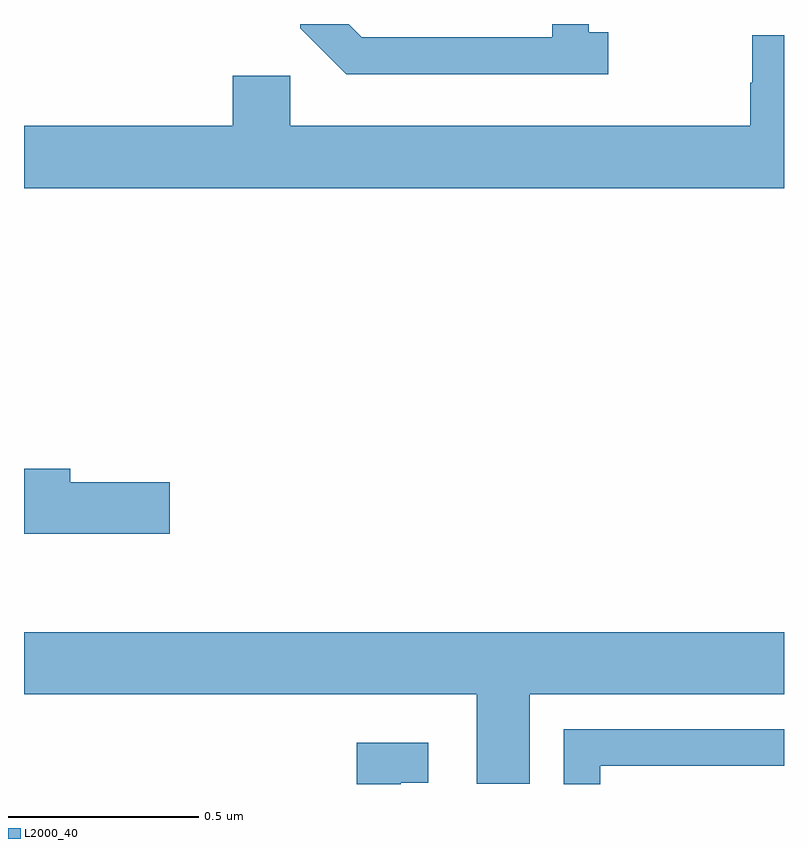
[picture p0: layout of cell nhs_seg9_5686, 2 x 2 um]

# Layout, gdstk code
import gdstk
lib = gdstk.Library(unit=1e-6, precision=1e-09)
def P(c, l, *ps):  # polygons
    for p in ps: c.add(gdstk.Polygon(p, *l))
L2000_40 = (2000, 40)

nhs_seg9_5686 = lib.new_cell('nhs_seg9_5686')
P(nhs_seg9_5686, L2000_40, [(183.538,1215.478),(183.486,1215.478),(183.486,1215.5),(183.39,1215.5),(183.39,1215.465),(182.889,1215.465),(182.854,1215.5),(182.727,1215.5),(182.727,1215.489),(182.848,1215.368),(183.538,1215.368)],
  [(184,1215.47),(183.916,1215.47),(183.916,1215.345),(183.911,1215.345),(183.911,1215.232),(182.7,1215.232),(182.7,1215.364),(182.549,1215.364),(182.549,1215.232),(182,1215.232),(182,1215.068),(184,1215.068)],
  [(182.383,1214.294),(182.122,1214.294),(182.122,1214.33),(182,1214.33),(182,1214.159),(182.383,1214.159)],
  [(183.331,1213.736),(184,1213.736),(184,1213.9),(182,1213.9),(182,1213.736),(183.191,1213.736),(183.191,1213.501),(183.331,1213.501)],
  [(183.517,1213.548),(184,1213.548),(184,1213.644),(183.42,1213.644),(183.42,1213.5),(183.517,1213.5)],
  [(182.991,1213.503),(183.064,1213.503),(183.064,1213.609),(182.875,1213.609),(182.875,1213.5),(182.991,1213.5)])

lib.write_gds('nhs_seg9_5686.gds')
